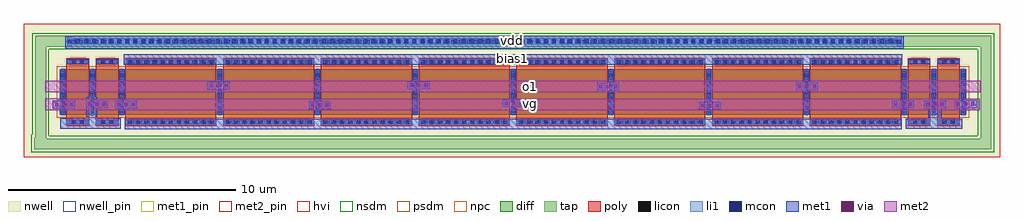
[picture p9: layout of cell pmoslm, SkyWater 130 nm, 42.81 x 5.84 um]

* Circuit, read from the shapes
.subckt pmoslm bias1 o1 vdd vg
XM1 vg vg vg vdd sky130_fd_pr__pfet_g5v0d10v5 w=2 l=1 m=4
XM2 o1 bias1 vg vdd sky130_fd_pr__pfet_g5v0d10v5 w=2 l=4 m=8
.ends

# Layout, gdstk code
from math import pi, radians
import gdstk
lib = gdstk.Library(unit=1e-6, precision=1e-09)
def R(c, l, rs):  # rectangles x0, y0, x1, y1
    for r in rs: c.add(gdstk.rectangle(r[:2], r[2:], *l))
def A(c, l, x, y, w, h, nx, ny, dx, dy):  # array of equal rectangles
    R(c, l, [(x+i*dx, y+j*dy, x+i*dx+w, y+j*dy+h) for i in range(nx) for j in range(ny)])
nwell_pin = (64, 16)
nwell = (64, 20)
diff = (65, 20)
tap = (65, 44)
poly = (66, 20)
licon = (66, 44)
li1 = (67, 20)
mcon = (67, 44)
met1_pin = (68, 16)
met1 = (68, 20)
via = (68, 44)
met2_pin = (69, 16)
met2 = (69, 20)
hvi = (75, 20)
nsdm = (93, 44)
psdm = (94, 20)
npc = (95, 20)

viam1m2_1u = lib.new_cell('viam1m2_1u')
R(viam1m2_1u, met1, [(-0.02,-0.04,0.33,0.94)])
A(viam1m2_1u, via, 0.075, 0.06, 0.15, 0.15, 1, 3, 0, 0.32)
R(viam1m2_1u, met2, [(-0.02,-0.04,0.33,0.94)])

sky130_fd_pr__pfet_g5v0d = lib.new_cell('sky130_fd_pr__pfet_g5v0d10v5_QSVYLM')
R(sky130_fd_pr__pfet_g5v0d, nwell, [(-1.615,-1.5,1.615,1.5)])
R(sky130_fd_pr__pfet_g5v0d, diff, [(-1.435,-1,1.435,1)])
R(sky130_fd_pr__pfet_g5v0d, poly, [(-1.145,-1.485,-0.145,1.485), (0.145,-1.485,1.145,1.485)])
A(sky130_fd_pr__pfet_g5v0d, licon, -1.375, -0.935, 0.17, 0.17, 3, 6, 1.29, 0.34)
R(sky130_fd_pr__pfet_g5v0d, licon, [(-0.9,-1.405,-0.73,-1.235), (-0.56,-1.405,-0.39,-1.235), (0.39,-1.405,0.56,-1.235), (0.73,-1.405,0.9,-1.235), (-0.9,1.235,-0.73,1.405), (-0.56,1.235,-0.39,1.405), (0.39,1.235,0.56,1.405), (0.73,1.235,0.9,1.405)])
A(sky130_fd_pr__pfet_g5v0d, li1, -1.375, -1.02, 0.17, 2.04, 3, 1, 1.29, 0)
R(sky130_fd_pr__pfet_g5v0d, li1, [(-1.145,-1.405,-0.145,-1.235), (0.145,-1.405,1.145,-1.235), (-1.145,1.235,-0.145,1.405), (0.145,1.235,1.145,1.405)])
A(sky130_fd_pr__pfet_g5v0d, mcon, -1.375, -0.805, 0.17, 0.17, 3, 5, 1.29, 0.36)
R(sky130_fd_pr__pfet_g5v0d, mcon, [(-0.91,-1.405,-0.74,-1.235), (-0.55,-1.405,-0.38,-1.235), (0.38,-1.405,0.55,-1.235), (0.74,-1.405,0.91,-1.235), (-0.91,1.235,-0.74,1.405), (-0.55,1.235,-0.38,1.405), (0.38,1.235,0.55,1.405), (0.74,1.235,0.91,1.405)])
A(sky130_fd_pr__pfet_g5v0d, met1, -1.405, -1, 0.23, 2, 3, 1, 1.29, 0)
R(sky130_fd_pr__pfet_g5v0d, met1, [(-1.125,-1.435,-0.165,-1.205), (0.165,-1.435,1.125,-1.205), (-1.125,1.205,-0.165,1.435), (0.165,1.205,1.125,1.435)])
R(sky130_fd_pr__pfet_g5v0d, hvi, [(-1.615,-1.5,1.615,-1.185), (-1.62,-1.185,1.62,1.185), (-1.615,1.185,1.615,1.5)])
R(sky130_fd_pr__pfet_g5v0d, psdm, [(-1.56,-1.125,1.56,1.125)])
R(sky130_fd_pr__pfet_g5v0d, npc, [(-1,-1.505,-0.29,-1.135), (0.29,-1.505,1,-1.135), (-1,1.135,-0.29,1.505), (0.29,1.135,1,1.505)])

c_sky130_fd_pr__pfet_g5v0d = lib.new_cell('sky130_fd_pr__pfet_g5v0d10v5_CSMW9L')
R(c_sky130_fd_pr__pfet_g5v0d, nwell, [(-17.485,-1.5,17.485,1.5)])
R(c_sky130_fd_pr__pfet_g5v0d, diff, [(-17.305,-1,17.305,1)])
A(c_sky130_fd_pr__pfet_g5v0d, poly, -17.015, -1.485, 4, 2.97, 8, 1, 4.29, 0)
A(c_sky130_fd_pr__pfet_g5v0d, licon, -16.8, -1.405, 0.17, 0.17, 11, 2, 0.34, 2.64)
A(c_sky130_fd_pr__pfet_g5v0d, licon, -12.51, -1.405, 0.17, 0.17, 11, 2, 0.34, 2.64)
A(c_sky130_fd_pr__pfet_g5v0d, licon, -8.22, -1.405, 0.17, 0.17, 11, 2, 0.34, 2.64)
A(c_sky130_fd_pr__pfet_g5v0d, licon, -3.93, -1.405, 0.17, 0.17, 11, 2, 0.34, 2.64)
A(c_sky130_fd_pr__pfet_g5v0d, licon, 0.36, -1.405, 0.17, 0.17, 11, 2, 0.34, 2.64)
A(c_sky130_fd_pr__pfet_g5v0d, licon, 4.65, -1.405, 0.17, 0.17, 11, 2, 0.34, 2.64)
A(c_sky130_fd_pr__pfet_g5v0d, licon, 8.94, -1.405, 0.17, 0.17, 11, 2, 0.34, 2.64)
A(c_sky130_fd_pr__pfet_g5v0d, licon, 13.23, -1.405, 0.17, 0.17, 11, 2, 0.34, 2.64)
A(c_sky130_fd_pr__pfet_g5v0d, licon, -17.245, -0.935, 0.17, 0.17, 9, 6, 4.29, 0.34)
A(c_sky130_fd_pr__pfet_g5v0d, li1, -17.015, -1.405, 4, 0.17, 8, 2, 4.29, 2.64)
A(c_sky130_fd_pr__pfet_g5v0d, li1, -17.245, -1.02, 0.17, 2.04, 9, 1, 4.29, 0)
A(c_sky130_fd_pr__pfet_g5v0d, mcon, -16.9, -1.405, 0.17, 0.17, 11, 2, 0.36, 2.64)
A(c_sky130_fd_pr__pfet_g5v0d, mcon, -12.61, -1.405, 0.17, 0.17, 11, 2, 0.36, 2.64)
A(c_sky130_fd_pr__pfet_g5v0d, mcon, -8.32, -1.405, 0.17, 0.17, 11, 2, 0.36, 2.64)
A(c_sky130_fd_pr__pfet_g5v0d, mcon, -4.03, -1.405, 0.17, 0.17, 11, 2, 0.36, 2.64)
A(c_sky130_fd_pr__pfet_g5v0d, mcon, 0.26, -1.405, 0.17, 0.17, 11, 2, 0.36, 2.64)
A(c_sky130_fd_pr__pfet_g5v0d, mcon, 4.55, -1.405, 0.17, 0.17, 11, 2, 0.36, 2.64)
A(c_sky130_fd_pr__pfet_g5v0d, mcon, 8.84, -1.405, 0.17, 0.17, 11, 2, 0.36, 2.64)
A(c_sky130_fd_pr__pfet_g5v0d, mcon, 13.13, -1.405, 0.17, 0.17, 11, 2, 0.36, 2.64)
A(c_sky130_fd_pr__pfet_g5v0d, mcon, -17.245, -0.805, 0.17, 0.17, 9, 5, 4.29, 0.36)
A(c_sky130_fd_pr__pfet_g5v0d, met1, -16.995, -1.435, 3.96, 0.23, 8, 2, 4.29, 2.64)
A(c_sky130_fd_pr__pfet_g5v0d, met1, -17.275, -1, 0.23, 2, 9, 1, 4.29, 0)
R(c_sky130_fd_pr__pfet_g5v0d, hvi, [(-17.485,-1.5,17.485,-1.185), (-17.49,-1.185,17.49,1.185), (-17.485,1.185,17.485,1.5)])
R(c_sky130_fd_pr__pfet_g5v0d, psdm, [(-17.43,-1.125,17.43,1.125)])
A(c_sky130_fd_pr__pfet_g5v0d, npc, -16.9, -1.505, 3.77, 0.37, 8, 2, 4.29, 2.64)

pmoslm = lib.new_cell('pmoslm')
R(pmoslm, nwell_pin, [(17.28,3.59,17.62,3.88)])
R(pmoslm, nwell, [(-3.97,-1.36,38.84,4.48)])
R(pmoslm, tap, [(-3.475,-1.025,-3.005,-1.02), (-3.52,-1.02,38.465,-0.55), (-3.52,-0.55,-3.005,-0.51), (37.995,-0.55,38.465,3.485), (-3.475,-0.51,-3.005,3.485), (-3.475,3.485,38.465,3.955)])
A(pmoslm, licon, -1.895, 3.61, 0.17, 0.17, 107, 1, 0.34, 0)
R(pmoslm, li1, [(-2.07,3.51,-1.88,3.59), (34.31,3.51,34.52,3.59), (-2.07,3.59,34.52,3.86), (-2.07,3.86,-1.88,3.91), (34.31,3.86,34.52,3.89)])
A(pmoslm, mcon, -1.69, 3.64, 0.17, 0.17, 100, 1, 0.36, 0)
R(pmoslm, mcon, [(34.33,3.615,34.5,3.785), (-2.06,3.625,-1.89,3.795)])
R(pmoslm, met1_pin, [(17.32,2.83,17.63,3.1)])
R(pmoslm, met1, [(0.44,-0.13,34.54,0.33), (-2.38,-0.12,0.27,0.34), (34.7,-0.12,37.19,0.32), (35.7,0.32,36.29,1.2), (-1.23,0.34,-0.76,1.26), (0.4,2.69,34.56,3.15), (-2.15,3.4,34.62,3.96)])
R(pmoslm, met2_pin, [(17.97,0.79,18.51,1.15), (17.99,1.57,18.53,1.93)])
R(pmoslm, met2, [(-3.03,0.69,37.95,1.19), (-3.03,1.19,-2.53,1.22), (-3.03,1.49,37.99,1.99)])
R(pmoslm, hvi, [(-3.97,-1.36,38.84,4.48)])
R(pmoslm, nsdm, [(-3.6,-1.15,-2.88,-1.145), (-3.645,-1.145,38.59,-0.425), (-3.645,-0.425,-2.88,-0.385), (37.87,-0.425,38.59,3.36), (-3.6,-0.385,-2.88,3.36), (-3.6,3.36,38.59,4.08)])
pmoslm.add(gdstk.Reference(viam1m2_1u, (12.88,1.95), rotation=3*pi/2))
pmoslm.add(gdstk.Reference(viam1m2_1u, (8.55,1.07), rotation=3*pi/2))
pmoslm.add(gdstk.Reference(viam1m2_1u, (4.11,1.93), rotation=3*pi/2))
pmoslm.add(gdstk.Reference(viam1m2_1u, (0.05,1.1), rotation=3*pi/2))
pmoslm.add(gdstk.Reference(viam1m2_1u, (17.05,1.15), rotation=3*pi/2))
pmoslm.add(gdstk.Reference(viam1m2_1u, (-2.67,1.1), rotation=3*pi/2))
pmoslm.add(gdstk.Reference(viam1m2_1u, (-1.23,1.12), rotation=3*pi/2))
pmoslm.add(gdstk.Reference(sky130_fd_pr__pfet_g5v0d, (-0.965,1.5)))
pmoslm.add(gdstk.Reference(viam1m2_1u, (36.87,1.11), rotation=3*pi/2))
pmoslm.add(gdstk.Reference(viam1m2_1u, (35.04,1.12), rotation=3*pi/2, x_reflection=True))
pmoslm.add(gdstk.Reference(viam1m2_1u, (29.92,1.9), rotation=3*pi/2))
pmoslm.add(gdstk.Reference(viam1m2_1u, (25.68,1.05), rotation=3*pi/2))
pmoslm.add(gdstk.Reference(viam1m2_1u, (21.19,1.89), rotation=3*pi/2))
pmoslm.add(gdstk.Reference(viam1m2_1u, (36.44,1.11), rotation=3*pi/2, x_reflection=True))
pmoslm.add(gdstk.Reference(sky130_fd_pr__pfet_g5v0d, (35.935,1.5)))
pmoslm.add(gdstk.Reference(c_sky130_fd_pr__pfet_g5v0d, (17.485,1.5)))
pmoslm.add(gdstk.Label('bias1', (17.475,2.965), layer=68, texttype=5))
pmoslm.add(gdstk.Label('o1', (18.26,1.75), layer=69, texttype=5))
pmoslm.add(gdstk.Label('vg', (18.24,0.97), layer=69, texttype=5))
pmoslm.add(gdstk.Label('vdd', (17.45,3.735), layer=64, texttype=5))

lib.write_gds('pmoslm.gds')
